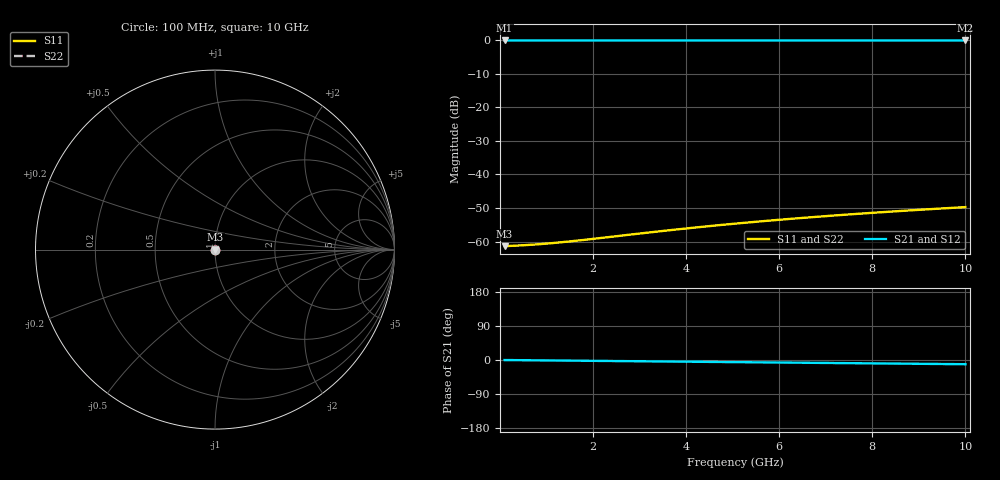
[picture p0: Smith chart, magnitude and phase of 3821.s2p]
# Hz S RI R 50.00
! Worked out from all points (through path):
!   100 points, 100 MHz to 10 GHz, reference 50 ohm
!   highest |S21| = -0.01 dB at 100 MHz (marker M1); lowest = 0.0 dB at 10 GHz (marker M2)
!   group delay of S21, straight-line fit = 3.09 ps
!   lowest |S11| = -61.4 dB at 100 MHz (marker M3), VSWR 1.00, Z = 50.1 + j0.00314 ohm
!   |S11| at or under -10 dB: start of sweep to end of sweep
!   |S22| runs from -61.4 to -49.7 dB; largest |S21 - S12| = 0
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1e8  0.000851 3.13e-05  0.9991 -0.00193  0.9991 -0.00193  0.000851 3.13e-05
5e8  0.000866 0.000156  0.9991 -0.00966  0.9991 -0.00966  0.000866 0.000156
7e8  0.00087 0.000219  0.999 -0.0135  0.999 -0.0135  0.00087 0.000219
9e8  0.000875 0.000281  0.999 -0.0174  0.999 -0.0174  0.000875 0.000281
1.1e9  0.000879 0.000343  0.9989 -0.0212  0.9989 -0.0212  0.000879 0.000343
1.3e9  0.000884 0.000405  0.9988 -0.0251  0.9988 -0.0251  0.000884 0.000405
1.5e9  0.000888 0.000467  0.9987 -0.029  0.9987 -0.029  0.000888 0.000467
1.8e9  0.000896 0.000559  0.9985 -0.0348  0.9985 -0.0348  0.000896 0.000559
3.4e9  0.000951 0.00104  0.9969 -0.0657  0.9969 -0.0657  0.000951 0.00104
3.9e9  0.000974 0.00119  0.9962 -0.0753  0.9962 -0.0753  0.000974 0.00119
4.3e9  0.000994 0.00131  0.9956 -0.083  0.9956 -0.083  0.000994 0.00131
4.7e9  0.00102 0.00143  0.9949 -0.0908  0.9949 -0.0908  0.00102 0.00143
5.1e9  0.00104 0.00154  0.9942 -0.0985  0.9942 -0.0985  0.00104 0.00154
5.5e9  0.00107 0.00166  0.9934 -0.1062  0.9934 -0.1062  0.00107 0.00166
5.9e9  0.00109 0.00177  0.9925 -0.1139  0.9925 -0.1139  0.00109 0.00177
6.3e9  0.00112 0.00189  0.9916 -0.1216  0.9916 -0.1216  0.00112 0.00189
6.7e9  0.00115 0.002  0.9906 -0.1293  0.9906 -0.1293  0.00115 0.002
7.5e9  0.00122 0.00222  0.9884 -0.1447  0.9884 -0.1447  0.00122 0.00222
7.9e9  0.00125 0.00233  0.9873 -0.1524  0.9873 -0.1524  0.00125 0.00233
8.4e9  0.0013 0.00247  0.9857 -0.1621  0.9857 -0.1621  0.0013 0.00247
9.2e9  0.00138 0.00269  0.9831 -0.1774  0.9831 -0.1774  0.00138 0.00269
1e10  0.00147 0.00291  0.9801 -0.1928  0.9801 -0.1928  0.00147 0.00291
